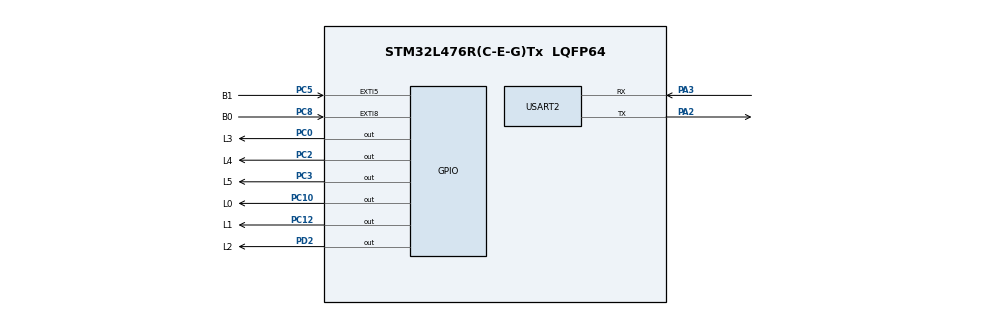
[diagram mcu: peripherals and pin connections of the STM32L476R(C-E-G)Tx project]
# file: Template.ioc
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Mcu.Family=STM32L4
Mcu.Name=STM32L476R(C-E-G)Tx
Mcu.Package=LQFP64
NVIC.EXTI9_5_IRQn=true\:1\:0\:true\:false\:true\:true\:true\:true
NVIC.PriorityGroup=NVIC_PRIORITYGROUP_4
NVIC.USART2_IRQn=true\:1\:0\:true\:false\:true\:true\:true\:true
PA13\ (JTMS-SWDIO).Mode=Serial_Wire
PA13\ (JTMS-SWDIO).Signal=SYS_JTMS-SWDIO
PA14\ (JTCK-SWCLK).Mode=Serial_Wire
PA14\ (JTCK-SWCLK).Signal=SYS_JTCK-SWCLK
PA2.Mode=Asynchronous
PA2.Signal=USART2_TX
PA3.Mode=Asynchronous
PA3.Signal=USART2_RX
PC0.GPIO_Label=L3
PC0.Signal=GPIO_Output
PC10.GPIO_Label=L0
PC10.Signal=GPIO_Output
PC12.GPIO_Label=L1
PC12.Signal=GPIO_Output
PC2.GPIO_Label=L4
PC2.Signal=GPIO_Output
PC3.GPIO_Label=L5
PC3.Signal=GPIO_Output
PC5.GPIO_Label=B1
PC5.GPIO_PuPd=GPIO_PULLDOWN
PC5.Signal=GPXTI5
PC8.GPIO_Label=B0
PC8.GPIO_ModeDefaultEXTI=GPIO_MODE_IT_FALLING
PC8.GPIO_PuPd=GPIO_PULLUP
PC8.Signal=GPXTI8
PD2.GPIO_Label=L2
PD2.Signal=GPIO_Output
ProjectManager.HeapSize=0x200
ProjectManager.StackSize=0x400
ProjectManager.TargetToolchain=STM32CubeIDE
RCC.HSE_VALUE=8000000
RCC.HSI_VALUE=16000000
RCC.LSE_VALUE=32768
RCC.MSI_VALUE=4000000
RCC.VCOOutputFreq_Value=32000000
USART2.VirtualMode-Asynchronous=VM_ASYNC
board=custom

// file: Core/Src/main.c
/* USER CODE BEGIN Header */
/**
  ******************************************************************************
  * @file           : main.c
  * @brief          : Main program body
  ******************************************************************************
  * @attention
  *
  * Copyright (c) 2023 STMicroelectronics.
  * All rights reserved.
  *
  * This software is licensed under terms that can be found in the LICENSE file
  * in the root directory of this software component.
  * If no LICENSE file comes with this software, it is provided AS-IS.
  *
  ******************************************************************************
  */
/* USER CODE END Header */
#include "main.h"

/* USER CODE BEGIN Includes */
#include <string.h>
#include <stdio.h>
#include <stdlib.h>
#include <stdint.h>

#include "MYLIB_Uart.h"
#include "MYLIB_Gpio.h"
/* USER CODE END Includes */

UART_HandleTypeDef huart2;

/* USER CODE BEGIN PV */

// MYLIB_Uart
static struct MYLIB_UartInstance MYLIB_uart2;

/* USER CODE END PV */

void SystemClock_Config(void);
static void MX_GPIO_Init(void);
static void MX_USART2_UART_Init(void);

int main(void)
{

  /* MCU Configuration--------------------------------------------------------*/

  /* Reset of all peripherals, Initializes the Flash interface and the Systick. */
  HAL_Init();

  /* Configure the system clock */
  SystemClock_Config();

  /* Initialize all configured peripherals */
  MX_GPIO_Init();
  MX_USART2_UART_Init();
  /* USER CODE BEGIN 2 */
  // DIODES
  for(int i = 0; i<NO_OF_DIODES; i++)
  {
	MYLIB_GpioDigOut_Set(i);
	HAL_Delay(250);
  }
  HAL_Delay(100);
  MYLIB_GpioDigOut_ResetAll();
  HAL_Delay(100);
  MYLIB_GpioDigOut_SetAll();
  HAL_Delay(150);
  MYLIB_GpioDigOut_ResetAll();
  HAL_Delay(100);
  MYLIB_GpioDigOut_SetAll();
  HAL_Delay(150);
  MYLIB_GpioDigOut_ResetAll();
  HAL_Delay(100);
  MYLIB_GpioDigOut_SetAll();
  HAL_Delay(150);
  MYLIB_GpioDigOut_ResetAll();
  HAL_Delay(100);
  MYLIB_GpioDigOut_Set(0);

  // MYLIB_Uart Code
  MYLIB_UartInstance_Init(&MYLIB_uart2);
  HAL_UART_Receive_IT(&huart2, MYLIB_uart2.rxBuffer + MYLIB_uart2.rxBufferIndex, 1);

  HAL_UART_Transmit_IT(&huart2, (unsigned char*)"Hello World!\r\n", strlen("Hello World!\r\n"));

  /* USER CODE END 2 */

  /* Infinite loop */
  while (1)
  {

    /* USER CODE BEGIN 3 */

	// check UART2 receive flag
	if(MYLIB_uart2.rxMessageRecieved == 1)
	{
		// send data
		HAL_UART_Transmit_IT(&huart2, MYLIB_uart2.txBuffer, strlen(MYLIB_uart2.txBuffer));
		// reset flag
		MYLIB_uart2.rxMessageRecieved = 0;
	}

	// diode mark change
	if(MYLIB_Gpio_GetDiodeMarkChange() == 1)
	{
		MYLIB_GpioDigOut_ResetAll();
		MYLIB_GpioDigOut_Set(MYLIB_Gpio_GetDiodeMark());

		MYLIB_Gpio_SetDiodeMarkChange(0);
	}

  }
  /* USER CODE END 3 */
}

void SystemClock_Config(void)
{
  RCC_OscInitTypeDef RCC_OscInitStruct = {0};
  RCC_ClkInitTypeDef RCC_ClkInitStruct = {0};

  /** Configure the main internal regulator output voltage
  */
  if (HAL_PWREx_ControlVoltageScaling(PWR_REGULATOR_VOLTAGE_SCALE1) != HAL_OK)
  {
    Error_Handler();
  }

  /** Initializes the RCC Oscillators according to the specified parameters
  * in the RCC_OscInitTypeDef structure.
  */
  RCC_OscInitStruct.OscillatorType = RCC_OSCILLATORTYPE_MSI;
  RCC_OscInitStruct.MSIState = RCC_MSI_ON;
  RCC_OscInitStruct.MSICalibrationValue = 0;
  RCC_OscInitStruct.MSIClockRange = RCC_MSIRANGE_6;
  RCC_OscInitStruct.PLL.PLLState = RCC_PLL_NONE;
  if (HAL_RCC_OscConfig(&RCC_OscInitStruct) != HAL_OK)
  {
    Error_Handler();
  }

  /** Initializes the CPU, AHB and APB buses clocks
  */
  RCC_ClkInitStruct.ClockType = RCC_CLOCKTYPE_HCLK|RCC_CLOCKTYPE_SYSCLK
                              |RCC_CLOCKTYPE_PCLK1|RCC_CLOCKTYPE_PCLK2;
  RCC_ClkInitStruct.SYSCLKSource = RCC_SYSCLKSOURCE_MSI;
  RCC_ClkInitStruct.AHBCLKDivider = RCC_SYSCLK_DIV1;
  RCC_ClkInitStruct.APB1CLKDivider = RCC_HCLK_DIV1;
  RCC_ClkInitStruct.APB2CLKDivider = RCC_HCLK_DIV1;

  if (HAL_RCC_ClockConfig(&RCC_ClkInitStruct, FLASH_LATENCY_0) != HAL_OK)
  {
    Error_Handler();
  }
}

static void MX_USART2_UART_Init(void)
{

  huart2.Instance = USART2;
  huart2.Init.BaudRate = 115200;
  huart2.Init.WordLength = UART_WORDLENGTH_8B;
  huart2.Init.StopBits = UART_STOPBITS_1;
  huart2.Init.Parity = UART_PARITY_NONE;
  huart2.Init.Mode = UART_MODE_TX_RX;
  huart2.Init.HwFlowCtl = UART_HWCONTROL_NONE;
  huart2.Init.OverSampling = UART_OVERSAMPLING_16;
  huart2.Init.OneBitSampling = UART_ONE_BIT_SAMPLE_DISABLE;
  huart2.AdvancedInit.AdvFeatureInit = UART_ADVFEATURE_NO_INIT;
  if (HAL_UART_Init(&huart2) != HAL_OK)
  {
    Error_Handler();
  }

}

static void MX_GPIO_Init(void)
{
  GPIO_InitTypeDef GPIO_InitStruct = {0};

  /* GPIO Ports Clock Enable */
  __HAL_RCC_GPIOC_CLK_ENABLE();
  __HAL_RCC_GPIOA_CLK_ENABLE();
  __HAL_RCC_GPIOD_CLK_ENABLE();

  /*Configure GPIO pin Output Level */
  HAL_GPIO_WritePin(GPIOC, L3_Pin|L4_Pin|L5_Pin|L0_Pin
                          |L1_Pin, GPIO_PIN_RESET);

  /*Configure GPIO pin Output Level */
  HAL_GPIO_WritePin(L2_GPIO_Port, L2_Pin, GPIO_PIN_RESET);

  /*Configure GPIO pins : L3_Pin L4_Pin L5_Pin L0_Pin
                           L1_Pin */
  GPIO_InitStruct.Pin = L3_Pin|L4_Pin|L5_Pin|L0_Pin
                          |L1_Pin;
  GPIO_InitStruct.Mode = GPIO_MODE_OUTPUT_PP;
  GPIO_InitStruct.Pull = GPIO_NOPULL;
  GPIO_InitStruct.Speed = GPIO_SPEED_FREQ_LOW;
  HAL_GPIO_Init(GPIOC, &GPIO_InitStruct);

  /*Configure GPIO pin : B1_Pin */
  GPIO_InitStruct.Pin = B1_Pin;
  GPIO_InitStruct.Mode = GPIO_MODE_IT_RISING;
  GPIO_InitStruct.Pull = GPIO_PULLDOWN;
  HAL_GPIO_Init(B1_GPIO_Port, &GPIO_InitStruct);

  /*Configure GPIO pin : B0_Pin */
  GPIO_InitStruct.Pin = B0_Pin;
  GPIO_InitStruct.Mode = GPIO_MODE_IT_FALLING;
  GPIO_InitStruct.Pull = GPIO_PULLUP;
  HAL_GPIO_Init(B0_GPIO_Port, &GPIO_InitStruct);

  /*Configure GPIO pin : L2_Pin */
  GPIO_InitStruct.Pin = L2_Pin;
  GPIO_InitStruct.Mode = GPIO_MODE_OUTPUT_PP;
  GPIO_InitStruct.Pull = GPIO_NOPULL;
  GPIO_InitStruct.Speed = GPIO_SPEED_FREQ_LOW;
  HAL_GPIO_Init(L2_GPIO_Port, &GPIO_InitStruct);

  /* EXTI interrupt init*/
  HAL_NVIC_SetPriority(EXTI9_5_IRQn, 1, 0);
  HAL_NVIC_EnableIRQ(EXTI9_5_IRQn);

}

/* USER CODE BEGIN 4 */

void HAL_GPIO_EXTI_Callback(uint16_t GPIO_Pin)
{
	unsigned char diodeM = MYLIB_Gpio_GetDiodeMark();
  if (GPIO_Pin == B1_Pin)
  {
	  // up
	  if(diodeM < NO_OF_DIODES-1)
	  {
		  MYLIB_Gpio_SetDiodeMark(diodeM + 1);
	  }
	  else
	  {
		  MYLIB_Gpio_SetDiodeMark(0);
	  }

	  MYLIB_Gpio_SetDiodeMarkChange(1);
  }
  else if (GPIO_Pin == B0_Pin)
  {
	  // down
	  if(diodeM < 1)
	  {
		  MYLIB_Gpio_SetDiodeMark(NO_OF_DIODES-1);
	  }
	  else
	  {
		  MYLIB_Gpio_SetDiodeMark(diodeM - 1);
	  }

	  MYLIB_Gpio_SetDiodeMarkChange(1);
  }

}

void HAL_UART_RxCpltCallback(UART_HandleTypeDef* uart)
{
	// check UART instance
	if(uart->Instance == USART2)
	{
		MYLIB_Uart_Resend(&huart2, &MYLIB_uart2); // call a callback function
		HAL_UART_Receive_IT(&huart2, MYLIB_uart2.rxBuffer + MYLIB_uart2.rxBufferIndex, 1); // set UART Receiver
	}
}

void HAL_UART_TxCpltCallback(UART_HandleTypeDef* uart)
{
	// check UART instance
	if(uart->Instance == USART2)
	{
		for(int i = 0; i < MYLIB_uart2.txBufferSize; i++)
		{
			MYLIB_uart2.txBuffer[i] = '\0';
		}
		MYLIB_uart2.txBufferSize = 0;
	}
}

/* USER CODE END 4 */

void Error_Handler(void)
{
  __disable_irq();
  while (1)
  {
  }
}
